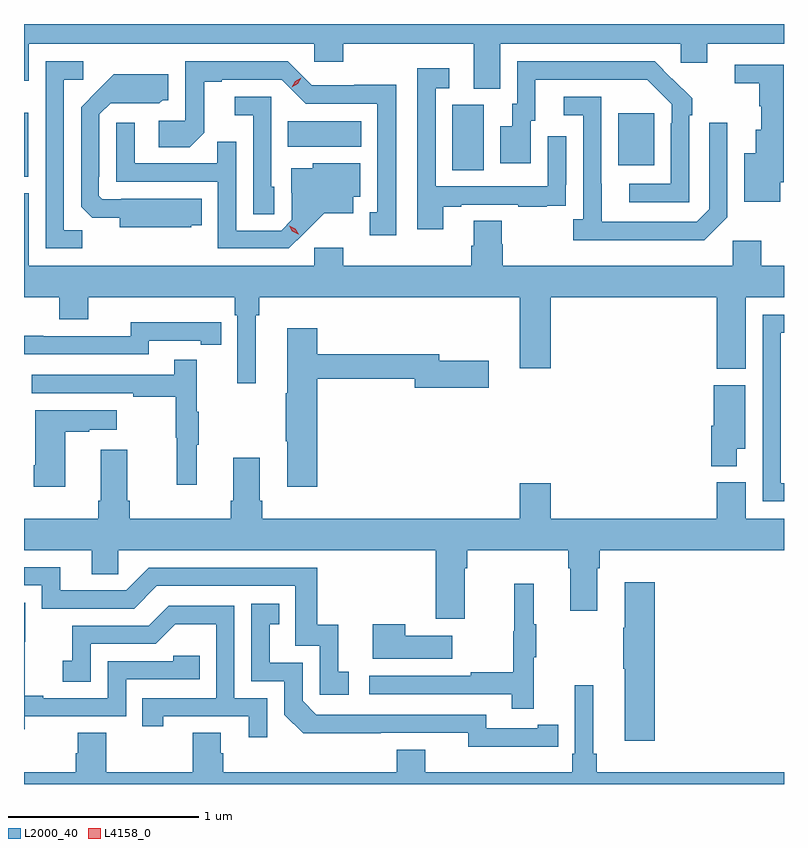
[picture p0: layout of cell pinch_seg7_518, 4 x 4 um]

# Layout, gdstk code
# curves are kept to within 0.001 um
import gdstk
lib = gdstk.Library(unit=1e-6, precision=1e-09)
def R(c, l, rs):  # rectangles x0, y0, x1, y1
    for r in rs: c.add(gdstk.rectangle(r[:2], r[2:], *l))
def P(c, l, *ps):  # polygons
    for p in ps: c.add(gdstk.Polygon(p, *l))
L2000_40 = (2000, 40)
L4158_0 = (4158, 0)

pinch_seg7_518 = lib.new_cell('pinch_seg7_518')
R(pinch_seg7_518, L2000_40, [(150.411,1066.517,150.433,1066.855), (152.666,1066.552,152.83,1066.896), (153.539,1066.577,153.727,1066.852), (151.798,1066.676,152.185,1066.81)])
P(pinch_seg7_518, L2000_40, [(152.917,1067.216),(153.867,1067.216),(153.867,1067.118),(154.006,1067.118),(154.006,1067.216),(154.411,1067.216),(154.411,1067.321),(150.411,1067.321),(150.411,1067.022),(150.436,1067.022),(150.436,1067.216),(151.938,1067.216),(151.938,1067.123),(152.09,1067.123),(152.09,1067.216),(152.777,1067.216),(152.777,1066.981),(152.917,1066.981)],
  [(150.717,1066.235),(150.621,1066.235),(150.621,1067.028),(150.724,1067.028),(150.724,1067.124),(150.525,1067.124),(150.525,1066.14),(150.717,1066.14)],
  [(152.371,1067),(152.148,1067),(152.148,1066.998),(151.926,1066.998),(151.8,1067.124),(151.26,1067.124),(151.26,1066.812),(151.119,1066.812),(151.119,1066.672),(151.283,1066.672),(151.359,1066.748),(151.359,1067.016),(151.453,1067.016),(151.453,1067.028),(151.767,1067.028),(151.893,1066.902),(152.27,1066.902),(152.27,1066.329),(152.231,1066.329),(152.231,1066.209),(152.371,1066.209)],
  [(153.912,1066.841),(153.927,1066.841),(153.927,1066.929),(153.73,1067.124),(153.006,1067.124),(153.006,1066.902),(152.981,1066.902),(152.981,1066.783),(152.918,1066.783),(152.918,1066.587),(153.079,1066.587),(153.079,1066.812),(153.103,1066.812),(153.103,1067.028),(153.691,1067.028),(153.819,1066.899),(153.819,1066.799),(153.816,1066.799),(153.816,1066.479),(153.597,1066.479),(153.597,1066.383),(153.912,1066.383)],
  [(154.39,1066.489),(154.409,1066.489),(154.409,1067.106),(154.152,1067.106),(154.152,1067.008),(154.281,1067.008),(154.281,1066.887),(154.292,1066.887),(154.292,1066.765),(154.262,1066.765),(154.262,1066.642),(154.202,1066.642),(154.202,1066.385),(154.39,1066.385)],
  [(152.617,1066.359),(152.713,1066.359),(152.713,1066.371),(153.013,1066.371),(153.013,1066.359),(153.161,1066.359),(153.161,1066.365),(153.263,1066.365),(153.263,1066.474),(153.264,1066.474),(153.264,1066.729),(153.168,1066.729),(153.168,1066.467),(152.577,1066.467),(152.577,1066.983),(152.65,1066.983),(152.65,1067.089),(152.481,1067.089),(152.481,1066.242),(152.617,1066.242)],
  [(151.29,1066.262),(151.346,1066.262),(151.346,1066.402),(150.922,1066.402),(150.922,1066.398),(150.822,1066.398),(150.804,1066.416),(150.804,1066.516),(150.807,1066.516),(150.807,1066.845),(150.867,1066.905),(151.124,1066.904),(151.14,1066.92),(151.171,1066.92),(151.171,1067.056),(150.883,1067.056),(150.711,1066.882),(150.711,1066.36),(150.77,1066.301),(150.914,1066.301),(150.914,1066.25),(151.29,1066.25)],
  [(151.728,1066.464),(151.713,1066.464),(151.713,1066.938),(151.521,1066.938),(151.521,1066.841),(151.617,1066.841),(151.617,1066.321),(151.728,1066.321)],
  [(154.113,1066.305),(154.113,1066.801),(154.017,1066.801),(154.017,1066.347),(153.951,1066.281),(153.451,1066.281),(153.45,1066.938),(153.252,1066.938),(153.252,1066.842),(153.354,1066.842),(153.354,1066.294),(153.303,1066.294),(153.303,1066.184),(153.992,1066.184)],
  [(151.888,1066.223),(151.991,1066.325),(152.143,1066.325),(152.143,1066.412),(152.182,1066.412),(152.182,1066.588),(151.932,1066.588),(151.932,1066.561),(151.817,1066.561),(151.817,1066.432),(151.821,1066.432),(151.821,1066.29),(151.764,1066.233),(151.527,1066.233),(151.527,1066.7),(151.429,1066.7),(151.429,1066.587),(150.993,1066.587),(150.993,1066.801),(150.897,1066.801),(150.897,1066.491),(151.431,1066.491),(151.431,1066.14),(151.804,1066.14)],
  [(151.63,1065.788),(151.649,1065.788),(151.649,1065.884),(153.02,1065.884),(153.02,1065.51),(153.184,1065.51),(153.184,1065.884),(154.058,1065.884),(154.058,1065.506),(154.21,1065.506),(154.21,1065.884),(154.411,1065.884),(154.411,1066.048),(154.292,1066.048),(154.292,1066.18),(154.14,1066.18),(154.14,1066.048),(152.93,1066.048),(152.93,1066.161),(152.925,1066.161),(152.925,1066.286),(152.777,1066.286),(152.777,1066.154),(152.765,1066.154),(152.765,1066.048),(152.09,1066.048),(152.09,1066.144),(151.938,1066.144),(151.938,1066.048),(150.436,1066.048),(150.436,1066.429),(150.411,1066.429),(150.411,1065.884),(150.596,1065.884),(150.596,1065.767),(150.748,1065.767),(150.748,1065.884),(151.52,1065.884),(151.52,1065.788),(151.533,1065.788),(151.533,1065.429),(151.63,1065.429)],
  [(154.411,1064.904),(154.395,1064.904),(154.395,1065.697),(154.411,1065.697),(154.411,1065.792),(154.299,1065.792),(154.299,1064.808),(154.411,1064.808)],
  [(151.068,1065.654),(151.34,1065.654),(151.34,1065.634),(151.448,1065.634),(151.448,1065.75),(151.34,1065.75),(151.34,1065.751),(150.972,1065.751),(150.972,1065.678),(150.512,1065.678),(150.512,1065.68),(150.411,1065.68),(150.411,1065.582),(151.068,1065.582)],
  [(151.955,1065.454),(152.468,1065.454),(152.468,1065.407),(152.857,1065.407),(152.857,1065.549),(152.596,1065.549),(152.596,1065.583),(151.955,1065.583),(151.955,1065.721),(151.796,1065.721),(151.796,1065.377),(151.789,1065.377),(151.789,1065.124),(151.796,1065.124),(151.796,1064.886),(151.955,1064.886)],
  [(151.319,1065.107),(151.33,1065.107),(151.33,1065.281),(151.319,1065.281),(151.319,1065.553),(151.201,1065.553),(151.201,1065.474),(150.453,1065.474),(150.453,1065.378),(150.985,1065.378),(150.985,1065.358),(151.209,1065.358),(151.209,1065.144),(151.216,1065.144),(151.216,1064.895),(151.319,1064.895)],
  [(154.162,1065.086),(154.207,1065.086),(154.207,1065.421),(154.04,1065.421),(154.04,1065.207),(154.028,1065.207),(154.028,1064.993),(154.162,1064.993)],
  [(150.628,1065.175),(150.755,1065.175),(150.755,1065.185),(150.898,1065.185),(150.898,1065.289),(150.47,1065.289),(150.47,1064.998),(150.463,1064.998),(150.463,1064.886),(150.628,1064.886)],
  [(152.731,1064.456),(152.744,1064.456),(152.744,1064.552),(153.275,1064.552),(153.275,1064.456),(153.287,1064.456),(153.287,1064.232),(153.427,1064.232),(153.427,1064.456),(153.44,1064.456),(153.44,1064.552),(154.411,1064.552),(154.411,1064.716),(154.21,1064.716),(154.21,1064.908),(154.058,1064.908),(154.058,1064.716),(153.184,1064.716),(153.184,1064.905),(153.02,1064.905),(153.02,1064.716),(151.664,1064.716),(151.664,1064.812),(151.651,1064.812),(151.651,1065.037),(151.511,1065.037),(151.511,1064.812),(151.499,1064.812),(151.499,1064.716),(150.968,1064.716),(150.968,1064.812),(150.955,1064.812),(150.955,1065.079),(150.815,1065.079),(150.815,1064.812),(150.803,1064.812),(150.803,1064.716),(150.411,1064.716),(150.411,1064.552),(150.767,1064.552),(150.767,1064.425),(150.906,1064.425),(150.906,1064.552),(152.579,1064.552),(152.579,1064.19),(152.731,1064.19)],
  [(152.119,1063.911),(152.066,1063.911),(152.066,1064.158),(151.955,1064.158),(151.955,1064.46),(151.068,1064.46),(150.948,1064.34),(150.601,1064.34),(150.601,1064.463),(150.411,1064.463),(150.411,1064.367),(150.504,1064.367),(150.504,1064.244),(150.99,1064.244),(151.11,1064.364),(151.839,1064.364),(151.839,1064.049),(151.968,1064.049),(151.968,1063.791),(152.119,1063.791)],
  [(153.731,1064.383),(153.572,1064.383),(153.572,1064.144),(153.565,1064.144),(153.565,1063.927),(153.572,1063.927),(153.572,1063.548),(153.731,1063.548)],
  [(153.095,1063.987),(153.106,1063.987),(153.106,1064.161),(153.095,1064.161),(153.095,1064.374),(152.992,1064.374),(152.992,1064.124),(152.985,1064.124),(152.985,1063.91),(152.761,1063.91),(152.761,1063.89),(152.229,1063.89),(152.229,1063.794),(152.977,1063.794),(152.977,1063.716),(153.095,1063.716)],
  [(150.414,1063.677),(150.948,1063.677),(150.948,1063.872),(151.337,1063.872),(151.337,1063.995),(151.197,1063.995),(151.197,1063.968),(150.852,1063.968),(150.852,1063.773),(150.511,1063.773),(150.511,1063.786),(150.416,1063.786),(150.416,1064.069),(150.417,1064.069),(150.417,1064.275),(150.411,1064.275),(150.411,1063.609),(150.414,1063.609)],
  [(153.116,1063.518),(153.224,1063.518),(153.224,1063.634),(153.116,1063.634),(153.116,1063.614),(152.844,1063.614),(152.844,1063.686),(151.95,1063.686),(151.878,1063.758),(151.878,1063.959),(151.705,1063.959),(151.705,1064.163),(151.754,1064.163),(151.754,1064.269),(151.608,1064.269),(151.608,1063.863),(151.782,1063.863),(151.782,1063.686),(151.88,1063.589),(152.748,1063.59),(152.748,1063.517)],
  [(151.692,1063.773),(151.518,1063.773),(151.518,1064.259),(151.172,1064.259),(151.067,1064.154),(150.664,1064.154),(150.664,1063.969),(150.615,1063.969),(150.615,1063.86),(150.762,1063.86),(150.762,1064.058),(151.104,1064.058),(151.208,1064.162),(151.422,1064.162),(151.422,1063.773),(151.033,1063.773),(151.033,1063.626),(151.144,1063.626),(151.144,1063.677),(151.595,1063.677),(151.595,1063.566),(151.692,1063.566)],
  [(152.665,1064.101),(152.417,1064.101),(152.417,1064.161),(152.246,1064.161),(152.246,1063.979),(152.665,1063.979)],
  [(154.411,1063.384),(153.425,1063.384),(153.425,1063.48),(153.406,1063.48),(153.406,1063.84),(153.309,1063.84),(153.309,1063.48),(153.296,1063.48),(153.296,1063.384),(152.524,1063.384),(152.524,1063.501),(152.372,1063.501),(152.372,1063.384),(151.46,1063.384),(151.46,1063.482),(151.447,1063.482),(151.447,1063.592),(151.3,1063.592),(151.3,1063.384),(150.843,1063.384),(150.843,1063.592),(150.695,1063.592),(150.695,1063.482),(150.683,1063.482),(150.683,1063.384),(150.411,1063.384),(150.411,1063.321),(154.411,1063.321)])
P(pinch_seg7_518, L4158_0, [(151.82,1066.988),(151.82,1066.988),(151.838,1067.02),(151.87,1067.039),(151.871,1067.039),(151.871,1067.039),(151.853,1067.006),(151.821,1066.988)],
  [(151.855,1066.215),(151.824,1066.23),(151.806,1066.259),(151.806,1066.26),(151.807,1066.26),(151.838,1066.244),(151.856,1066.215),(151.856,1066.215)])

lib.write_gds('pinch_seg7_518.gds')
